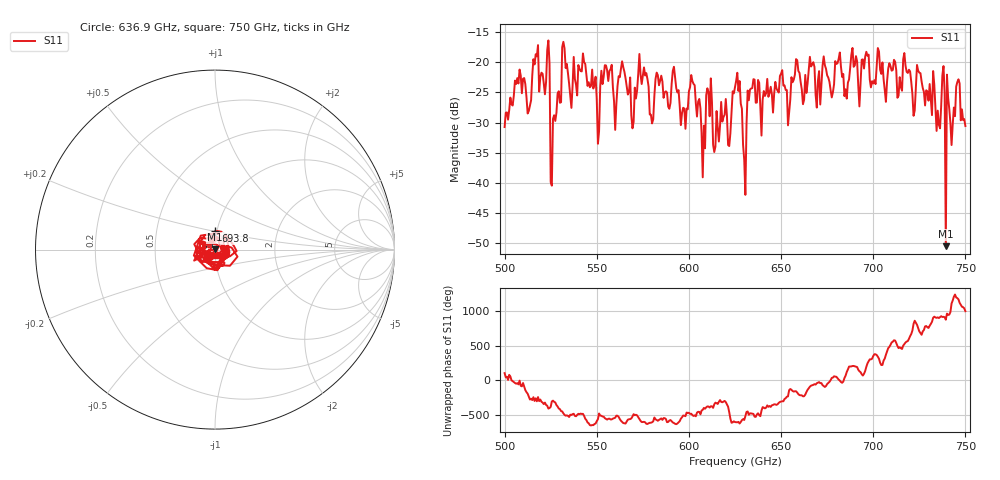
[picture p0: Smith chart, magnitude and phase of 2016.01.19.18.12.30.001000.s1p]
!Created with skrf (http://scikit-rf.org).
# GHz S RI R 50.0
!freq ReS11 ImS11
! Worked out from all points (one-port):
!   401 points, 500 GHz to 750 GHz, reference 50 ohm
!   lowest |S11| = -50.5 dB at 739.4 GHz (marker M1), VSWR 1.01, Z = 49.7 + j0.111 ohm
!   |S11| at or under -10 dB: start of sweep to end of sweep
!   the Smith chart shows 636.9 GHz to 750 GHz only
!   S11 on the Smith chart (normalised r, x): 636.9 GHz: 0.94, -0.06; 693.8 GHz: 0.98, +0.21; 750 GHz: 1.01, -0.06
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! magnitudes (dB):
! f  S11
! 500 GHz  -30.7
! 507.5 GHz  -23.5
! 513.1 GHz  -28.1
! 516.9 GHz  -18.7
! 523.1 GHz  -18.0
! 526.2 GHz  -29.4
! 531.2 GHz  -17.5
! 550.6 GHz  -33.5
! 562.5 GHz  -22.5
! 570 GHz  -29.9
! 574.4 GHz  -23.6
! 580 GHz  -30.1
! 593.8 GHz  -25.0
! 601.9 GHz  -23.1
! 607.5 GHz  -39.1
! 610.6 GHz  -24.9
! 614.4 GHz  -34.0
! 621.9 GHz  -33.9
! 625 GHz  -24.1
! 630 GHz  -36.1
! 636.9 GHz  -26.7
! 656.2 GHz  -23.3
! 687.5 GHz  -20.9
! 693.8 GHz  -19.6
! 718.8 GHz  -21.8
! 739.4 GHz  -50.5
! 745.6 GHz  -23.3
! 750 GHz  -30.6
